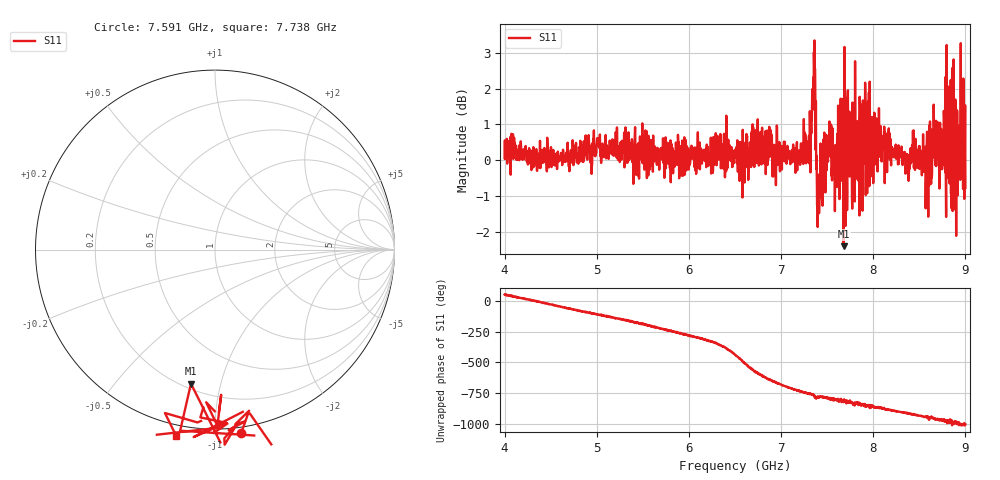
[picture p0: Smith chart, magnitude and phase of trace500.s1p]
! Created with skrf 1.8.0 (http://scikit-rf.org).
# Hz S RI R 50.0
!freq ReS11 ImS11
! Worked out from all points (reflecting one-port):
!   1601 points, 4 GHz to 9 GHz, reference 50 ohm
!   lowest |S11| = -2.4 dB at 7.678 GHz (marker M1), VSWR 7.29, Z = 11.5 - j40.5 ohm
!   phase of S11 starts at 49 deg and turns -1050 deg over the sweep
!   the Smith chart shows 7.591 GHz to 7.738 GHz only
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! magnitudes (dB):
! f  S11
! 4 GHz  0.1
! 4.625 GHz  -0.1
! 5.25 GHz  0.0
! 5.875 GHz  0.0
! 6.5 GHz  0.3
! 6.875 GHz  0.2
! 7.125 GHz  0.1
! 7.294 GHz  -0.1
! 7.347 GHz  1.8
! 7.362 GHz  3.3
! 7.4 GHz  -1.1
! 7.412 GHz  -1.5
! 7.512 GHz  0.5
! 7.609 GHz  0.7
! 7.662 GHz  0.2
! 7.678 GHz  -2.4
! 7.75 GHz  0.5
! 7.962 GHz  2.2
! 7.981 GHz  0.3
! 8.038 GHz  0.9
! 8.375 GHz  -0.2
! 8.434 GHz  0.4
! 8.572 GHz  -0.7
! 8.819 GHz  -0.2
! 8.844 GHz  -0.9
! 8.919 GHz  -0.2
! 8.959 GHz  2.1
! 9 GHz  -0.8
